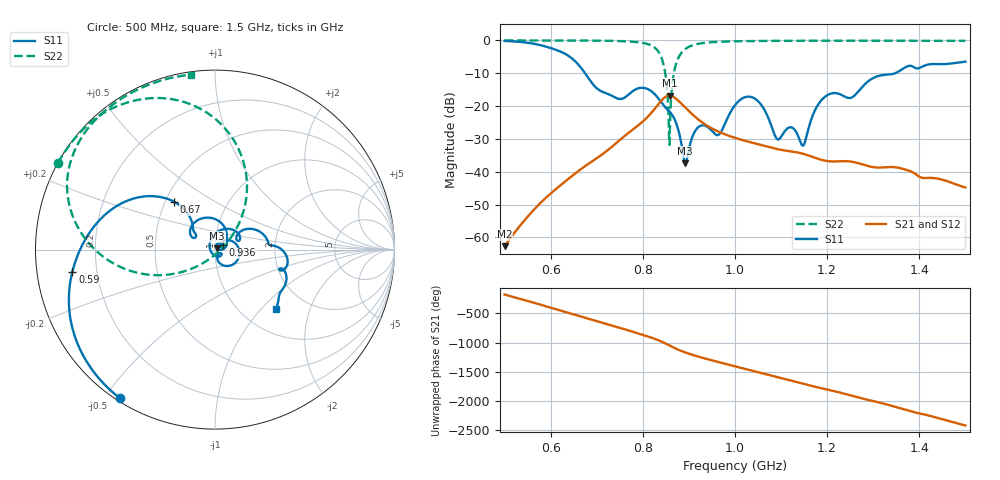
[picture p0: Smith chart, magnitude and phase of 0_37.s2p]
! TOUCHSTONE file generated by CST MICROWAVE STUDIO
! Date and time: Mon Sep 28 14:16:26 2020
! Project name: Scenario_1_Free_SPace.cst
! Parameters = {dx1=796.8; L_HA=400; MT=2.54; Rad_Dielectric=30; Rad_Lower=7.3; Rad_Upper=30; a_HA=580; a_WG=246; b_HA=500; b_WG=121; c_HA=0; c_WG=187; d_feed=85; h_feed=15; h_lower=18; h_upper=40}
! Header version: 2018
! Port assignment regex: !\s*Touchstone port\s*([0-9]+)\s*=\s*(CST MWS port|CST DS port)\s*([0-9]+|Zmin|Zmax)\s*\(\"(.*)\"\)(\s*mode\s*([0-9]+))?.*
! Touchstone port assignment:
! Touchstone port 1 = CST MWS port 1 ("")
! Touchstone port 2 = CST MWS port 2 ("")
# GHz S DB R 50
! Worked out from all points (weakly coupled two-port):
!   1003 points, 500 MHz to 1.5 GHz, reference 50 ohm
!   highest |S21| = -16.79 dB at 858 MHz (marker M1); lowest = -62.7 dB at 500 MHz (marker M2)
!   lowest |S11| = -37.5 dB at 892 MHz (marker M3), VSWR 1.03, Z = 51.1 + j0.761 ohm
!   |S11| at or under -10 dB: 674.6 MHz to 1.347 GHz (672.6 MHz wide, 66.5 % of centre)
!   |S22| runs from -31.8 to 0.0 dB; largest |S21 - S12| = 4.3e-05
!   S11 on the Smith chart (normalised r, x): 500 MHz: 0.01, -0.55; 590 MHz: 0.11, -0.08; 670 MHz: 0.56, +0.34; 936 MHz: 1.09, +0.05; 1.5 GHz: 1.41, -1.21
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0.5  -0.15 -122.7  -62.68 -176.4  -62.68 -176.4  -0.01 151.1
0.59  -1.90 -171.2  -47.88 -18.8  -47.88 -18.8  -0.02 144.9
0.667  -8.55 132.1  -39.07 163.7  -39.07 163.7  -0.04 138.3
0.67  -9.10 130.5  -38.76 156.8  -38.76 156.8  -0.05 138.0
0.743  -17.58 143.0  -31.18 -8.3  -31.18 -8.3  -0.17 128.6
0.78  -15.27 143.8  -26.97 -98.1  -26.97 -98.1  -0.43 120.3
0.834  -17.71 63.9  -19.40 120.2  -19.40 120.2  -3.47 84.7
0.846  -19.93 49.1  -17.53 77.6  -17.53 77.6  -8.05 63.2
0.858  -21.70 34.6  -16.79 29.4  -16.79 29.4  -31.85 -81.1
0.87  -24.38 13.3  -17.53 -17.4  -17.53 -17.4  -8.23 -158.7
0.892  -37.46 33.8  -20.43 -88.0  -20.43 -88.0  -2.64 174.1
0.936  -26.02 28.3  -25.66 165.7  -25.66 165.7  -0.70 152.6
0.965  -28.69 33.4  -27.84 105.1  -27.84 105.1  -0.41 145.8
1  -19.73 28.2  -29.67 33.9  -29.67 33.9  -0.26 140.2
1.042  -17.63 -37.6  -31.32 -51.0  -31.32 -51.0  -0.17 135.2
1.091  -29.99 -56.0  -33.09 -149.0  -33.09 -149.0  -0.13 130.4
1.122  -26.47 -47.5  -33.78 149.7  -33.78 149.7  -0.11 127.8
1.147  -32.06 -150.0  -34.51 97.9  -34.51 97.9  -0.10 125.7
1.167  -23.47 106.7  -35.41 57.4  -35.41 57.4  -0.09 124.1
1.201  -16.61 48.7  -36.76 -5.1  -36.76 -5.1  -0.09 121.5
1.334  -10.41 5.5  -38.57 91.4  -38.57 91.4  -0.09 111.4
1.5  -6.47 -44.6  -44.81 101.4  -44.78 101.1  -0.14 97.8
